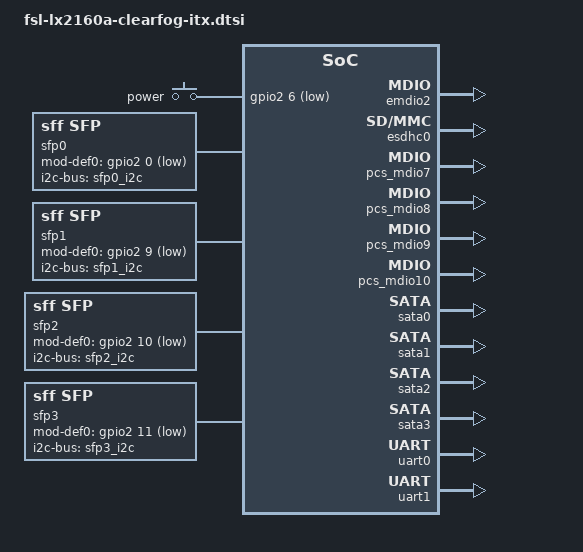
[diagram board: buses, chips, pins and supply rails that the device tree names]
// SPDX-License-Identifier: (GPL-2.0 OR MIT)
//
// Device Tree file for LX2160A Clearfog ITX board; this contains the
// common parts shared between the Clearfog CX and Honeycomb builds.
//
// Copyright 2019 SolidRun Ltd.

/dts-v1/;

#include "fsl-lx2160a-cex7.dtsi"
#include <dt-bindings/input/linux-event-codes.h>

/ {
	aliases {
		serial0 = &uart0;
		serial1 = &uart1;
	};

	chosen {
		stdout-path = "serial0:115200n8";
	};

	gpio-keys {
		compatible = "gpio-keys";

		key {
			label = "power";
			linux,can-disable;
			linux,code = <KEY_POWER>;
			gpios = <&gpio2 6 GPIO_ACTIVE_LOW>;
		};
	};

	sfp0: sfp-0 {
		compatible = "sff,sfp";
		i2c-bus = <&sfp0_i2c>;
		mod-def0-gpios = <&gpio2 0 GPIO_ACTIVE_LOW>;
		maximum-power-milliwatt = <2000>;
	};

	sfp1: sfp-1 {
		compatible = "sff,sfp";
		i2c-bus = <&sfp1_i2c>;
		mod-def0-gpios = <&gpio2 9 GPIO_ACTIVE_LOW>;
		maximum-power-milliwatt = <2000>;
	};

	sfp2: sfp-2 {
		compatible = "sff,sfp";
		i2c-bus = <&sfp2_i2c>;
		mod-def0-gpios = <&gpio2 10 GPIO_ACTIVE_LOW>;
		maximum-power-milliwatt = <2000>;
	};

	sfp3: sfp-3 {
		compatible = "sff,sfp";
		i2c-bus = <&sfp3_i2c>;
		mod-def0-gpios = <&gpio2 11 GPIO_ACTIVE_LOW>;
		maximum-power-milliwatt = <2000>;
	};
};

&dpmac7 {
	sfp = <&sfp0>;
	managed = "in-band-status";
	phys = <&serdes_1 3>;
};

&dpmac8 {
	sfp = <&sfp1>;
	managed = "in-band-status";
	phys = <&serdes_1 2>;
};

&dpmac9 {
	sfp = <&sfp2>;
	managed = "in-band-status";
	phys = <&serdes_1 1>;
};

&dpmac10 {
	sfp = <&sfp3>;
	managed = "in-band-status";
	phys = <&serdes_1 0>;
};

&emdio2 {
	status = "okay";
};

&esdhc0 {
	sd-uhs-sdr104;
	sd-uhs-sdr50;
	sd-uhs-sdr25;
	sd-uhs-sdr12;
	status = "okay";
};

&pcs_mdio7 {
	status = "okay";
};

&pcs_mdio8 {
	status = "okay";
};

&pcs_mdio9 {
	status = "okay";
};

&pcs_mdio10 {
	status = "okay";
};

&sata0 {
	status = "okay";
};

&sata1 {
	status = "okay";
};

&sata2 {
	status = "okay";
};

&sata3 {
	status = "okay";
};

&uart0 {
	status = "okay";
};

&uart1 {
	status = "okay";
};
